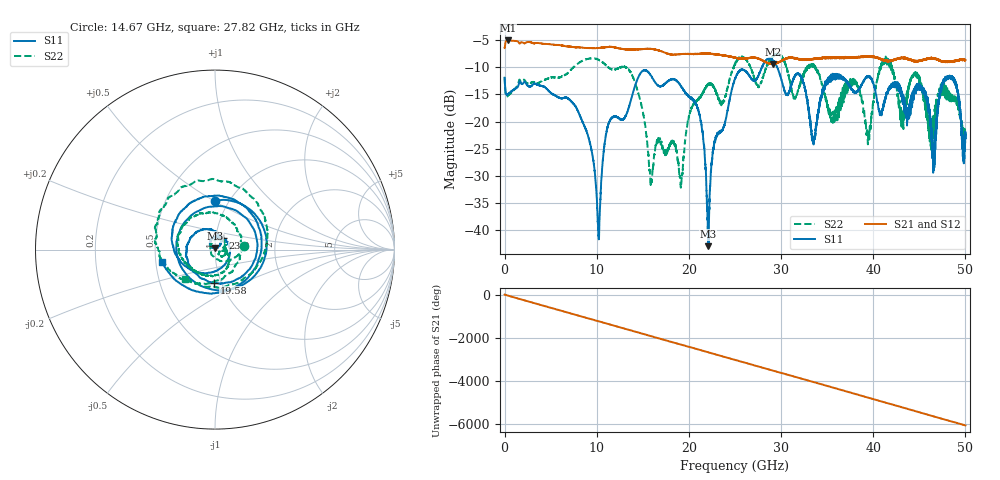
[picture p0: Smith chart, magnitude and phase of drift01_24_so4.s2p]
!Created with skrf (http://scikit-rf.org).
# Hz S RI R 50.0
!freq ReS11 ImS11 ReS21 ImS21 ReS12 ImS12 ReS22 ImS22
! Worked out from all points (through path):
!   10001 points, 300 kHz to 50 GHz, reference 50 ohm
!   highest |S21| = -5.05 dB at 330.3 MHz (marker M1); lowest = -9.4 dB at 29.09 GHz (marker M2)
!   group delay of S21, straight-line fit = 336 ps
!   lowest |S11| = -43.0 dB at 22.09 GHz (marker M3), VSWR 1.01, Z = 49.9 + j0.707 ohm
!   |S11| at or under -10 dB: start of sweep to 27.92 GHz; 29.59 GHz to end of sweep
!   |S22| runs from -32.2 to -7.5 dB; largest |S21 - S12| = 0.013
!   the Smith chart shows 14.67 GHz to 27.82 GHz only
!   S11 on the Smith chart (normalised r, x): 14.67 GHz: 0.86, +0.50; 19.58 GHz: 0.93, -0.35; 23.2 GHz: 1.08, +0.14; 27.82 GHz: 0.54, -0.08
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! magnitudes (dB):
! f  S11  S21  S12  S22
! 300 kHz  -12.0  -6.5  -6.5  -11.7
! 330.3 MHz  -15.0  -5.1  -5.1  -15.3
! 8.335 GHz  -19.5  -6.4  -6.4  -8.9
! 10.21 GHz  -41.2  -6.4  -6.4  -8.6
! 11.24 GHz  -20.6  -6.2  -6.3  -10.0
! 14.67 GHz  -11.3  -6.7  -6.7  -15.7
! 15.87 GHz  -11.5  -6.6  -6.6  -31.3
! 16.67 GHz  -13.4  -6.9  -6.9  -23.2
! 19.58 GHz  -14.7  -7.5  -7.5  -23.8
! 21.22 GHz  -19.4  -7.5  -7.5  -15.6
! 22.09 GHz  -43.0  -7.5  -7.5  -13.2
! 23.2 GHz  -22.3  -7.7  -7.7  -15.8
! 25 GHz  -12.1  -8.2  -8.3  -9.5
! 27.82 GHz  -10.4  -8.6  -8.6  -12.7
! 29.09 GHz  -8.7  -9.4  -9.4  -8.1
! 33.34 GHz  -22.3  -8.5  -8.5  -9.7
! 39.47 GHz  -11.7  -8.0  -8.0  -22.2
! 41.67 GHz  -13.9  -8.8  -8.8  -8.9
! 45.36 GHz  -13.9  -8.7  -8.6  -14.2
! 46.56 GHz  -25.8  -8.4  -8.3  -21.4
! 48.52 GHz  -11.6  -8.9  -9.0  -15.3
! 50 GHz  -23.0  -8.7  -8.7  -22.6
